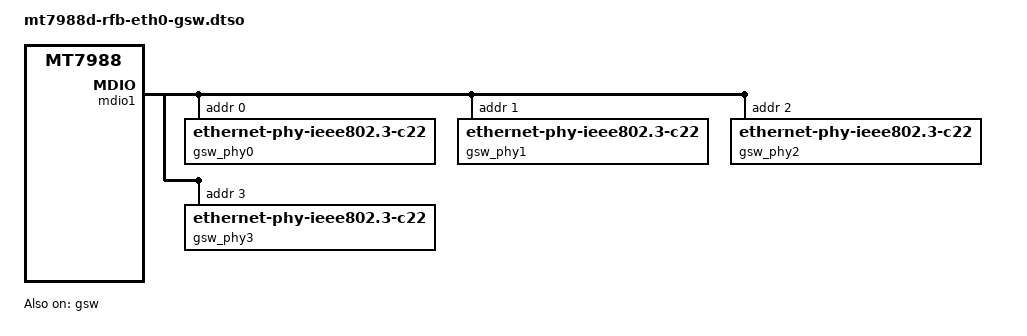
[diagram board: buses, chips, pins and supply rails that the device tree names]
// SPDX-License-Identifier: (GPL-2.0 OR MIT)
/*
 * Copyright (C) 2025 MediaTek Inc.
 * Author: Neal.Yen <neal.yen@mediatek.com>
 */

/dts-v1/;
/plugin/;

#include <dt-bindings/interrupt-controller/arm-gic.h>
#include <dt-bindings/interrupt-controller/irq.h>
#include <dt-bindings/leds/common.h>

/ {

	fragment@0 {
		target-path = "/";
		__overlay__ {
			compatible = "mediatek,mt7988d-rfb-gsw",
						 "mediatek,mt7988d",
						 "mediatek,mt7988";
		};
	};

	fragment@1 {
		target = <&switch>;
		__overlay__ {
			status = "disabled";
		};
	};

	fragment@2 {
		target = <&ethwarp>;
		__overlay__ {
			compatible = "mediatek,mt7988-ethwarp", "syscon";
		};
	};

	fragment@3 {
		target = <&gsw>;
		__overlay__ {
			compatible = "mediatek,mt753x", "mediatek,mt7988-gsw-switch", "syscon";
			mediatek,sysctrl = <&ethwarp>;
			mediatek,mdio = <&mdio_bus>;
			mediatek,portmap = "llllw";
			mediatek,mdio_master_pinmux = <1>;
			interrupt-parent = <&gic>;
			interrupts = <GIC_SPI 209 IRQ_TYPE_LEVEL_HIGH>;
			status = "okay";

			port6: port@6 {
				compatible = "mediatek,mt753x-port";
				mediatek,ssc-on;
				phy-mode = "10gbase-kr";
				reg = <6>;
				fixed-link {
					speed = <10000>;
					full-duplex;
				};
			};

			mdio1: mdio-bus {
				#address-cells = <1>;
				#size-cells = <0>;
				mediatek,pio = <&pio>;

				gsw_phy0: ethernet-phy@0 {
					compatible = "ethernet-phy-ieee802.3-c22";
					reg = <0>;
					phy-mode = "internal";
					pinctrl-names = "gbe-led";
					pinctrl-0 = <&gbe0_led0_pins>;
					nvmem-cells = <&phy_calibration_p0>;
					nvmem-cell-names = "phy-cal-data";

					leds {
						#address-cells = <1>;
						#size-cells = <0>;

						gsw_phy0_led0: gsw-phy0-led0@0 {
							reg = <0>;
							function = LED_FUNCTION_LAN;
							status = "disabled";
						};

						gsw_phy0_led1: gsw-phy0-led1@1 {
							reg = <1>;
							function = LED_FUNCTION_LAN;
							status = "disabled";
						};
					};
				};

				gsw_phy1: ethernet-phy@1 {
					compatible = "ethernet-phy-ieee802.3-c22";
					reg = <1>;
					phy-mode = "internal";
					pinctrl-names = "gbe-led";
					pinctrl-0 = <&gbe1_led0_pins>;
					nvmem-cells = <&phy_calibration_p1>;
					nvmem-cell-names = "phy-cal-data";

					leds {
						#address-cells = <1>;
						#size-cells = <0>;

						gsw_phy1_led0: gsw-phy1-led0@0 {
							reg = <0>;
							function = LED_FUNCTION_LAN;
							status = "disabled";
						};

						gsw_phy1_led1: gsw-phy1-led1@1 {
							reg = <1>;
							function = LED_FUNCTION_LAN;
							status = "disabled";
						};
					};
				};

				gsw_phy2: ethernet-phy@2 {
					compatible = "ethernet-phy-ieee802.3-c22";
					reg = <2>;
					phy-mode = "internal";
					pinctrl-names = "gbe-led";
					pinctrl-0 = <&gbe2_led0_pins>;
					nvmem-cells = <&phy_calibration_p2>;
					nvmem-cell-names = "phy-cal-data";

					leds {
						#address-cells = <1>;
						#size-cells = <0>;

						gsw_phy2_led0: gsw-phy2-led0@0 {
							reg = <0>;
							function = LED_FUNCTION_LAN;
							status = "disabled";
						};

						gsw_phy2_led1: gsw-phy2-led1@1 {
							reg = <1>;
							function = LED_FUNCTION_LAN;
							status = "disabled";
						};
					};
				};

				gsw_phy3: ethernet-phy@3 {
					compatible = "ethernet-phy-ieee802.3-c22";
					reg = <3>;
					phy-mode = "internal";
					pinctrl-names = "gbe-led";
					pinctrl-0 = <&gbe3_led0_pins>;
					nvmem-cells = <&phy_calibration_p3>;
					nvmem-cell-names = "phy-cal-data";

					leds {
						#address-cells = <1>;
						#size-cells = <0>;

						gsw_phy3_led0: gsw-phy3-led0@0 {
							reg = <0>;
							function = LED_FUNCTION_LAN;
							status = "disabled";
						};

						gsw_phy3_led1: gsw-phy3-led1@1 {
							reg = <1>;
							function = LED_FUNCTION_LAN;
							status = "disabled";
						};
					};
				};
			};
		};
	};
};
